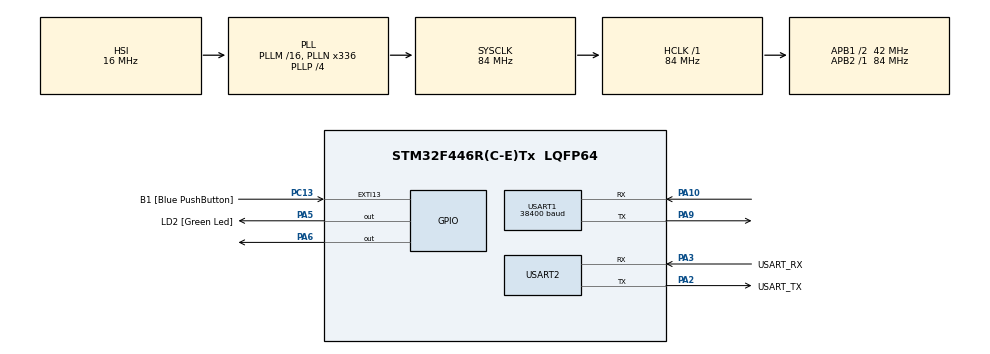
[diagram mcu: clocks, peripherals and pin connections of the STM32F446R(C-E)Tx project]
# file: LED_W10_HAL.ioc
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Mcu.Family=STM32F4
Mcu.Name=STM32F446R(C-E)Tx
Mcu.Package=LQFP64
NVIC.PriorityGroup=NVIC_PRIORITYGROUP_0
PA10.Mode=Asynchronous
PA10.Signal=USART1_RX
PA13.GPIO_Label=TMS
PA13.Mode=Serial_Wire
PA13.Signal=SYS_JTMS-SWDIO
PA14.GPIO_Label=TCK
PA14.Mode=Serial_Wire
PA14.Signal=SYS_JTCK-SWCLK
PA2.GPIO_Label=USART_TX
PA2.Mode=Asynchronous
PA2.Signal=USART2_TX
PA3.GPIO_Label=USART_RX
PA3.Mode=Asynchronous
PA3.Signal=USART2_RX
PA5.GPIO_Label=LD2 [Green Led]
PA5.Signal=GPIO_Output
PA6.Signal=GPIO_Output
PA9.Mode=Asynchronous
PA9.Signal=USART1_TX
PB3.GPIO_Label=SWO
PB3.Signal=SYS_JTDO-SWO
PC13.GPIO_Label=B1 [Blue PushButton]
PC13.GPIO_ModeDefaultEXTI=GPIO_MODE_IT_FALLING
PC13.Signal=GPXTI13
PC14-OSC32_IN.Mode=LSE-External-Oscillator
PC14-OSC32_IN.Signal=RCC_OSC32_IN
PC15-OSC32_OUT.Mode=LSE-External-Oscillator
PC15-OSC32_OUT.Signal=RCC_OSC32_OUT
PH0-OSC_IN.Mode=HSE-External-Oscillator
PH0-OSC_IN.Signal=RCC_OSC_IN
PH1-OSC_OUT.Mode=HSE-External-Oscillator
PH1-OSC_OUT.Signal=RCC_OSC_OUT
ProjectManager.HeapSize=0x200
ProjectManager.StackSize=0x400
ProjectManager.TargetToolchain=STM32CubeIDE
RCC.48MHZClocksFreq_Value=84000000
RCC.AHBFreq_Value=84000000
RCC.APB1CLKDivider=RCC_HCLK_DIV2
RCC.APB1Freq_Value=42000000
RCC.APB1TimFreq_Value=84000000
RCC.APB2Freq_Value=84000000
RCC.APB2TimFreq_Value=84000000
RCC.CortexFreq_Value=84000000
RCC.FLatency-AdvancedSettings=FLASH_LATENCY_2
RCC.HCLKFreq_Value=84000000
RCC.HSE_VALUE=8000000
RCC.HSI_VALUE=16000000
RCC.PLLN=336
RCC.PLLP=RCC_PLLP_DIV4
RCC.SYSCLKFreq_VALUE=84000000
RCC.SYSCLKSource=RCC_SYSCLKSOURCE_PLLCLK
RCC.USBFreq_Value=168000000
RCC.VCOOutputFreq_Value=336000000
USART1.BaudRate=38400
USART1.VirtualMode=VM_ASYNC
USART2.VirtualMode=VM_ASYNC
board=NUCLEO-F446RE

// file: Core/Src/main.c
/* USER CODE BEGIN Header */
/**
  ******************************************************************************
  * @file           : main.c
  * @brief          : Main program body
  ******************************************************************************
  * @attention
  *
  * Copyright (c) 2023 STMicroelectronics.
  * All rights reserved.
  *
  * This software is licensed under terms that can be found in the LICENSE file
  * in the root directory of this software component.
  * If no LICENSE file comes with this software, it is provided AS-IS.
  *
  ******************************************************************************
  */
/* USER CODE END Header */
#include "main.h"

/* USER CODE BEGIN Includes */
#include"stdio.h"
#include<string.h>
/* USER CODE END Includes */

UART_HandleTypeDef huart1;
UART_HandleTypeDef huart2;

void SystemClock_Config(void);
static void MX_GPIO_Init(void);
static void MX_USART1_UART_Init(void);
static void MX_USART2_UART_Init(void);
/* USER CODE BEGIN PFP */

void WE10_Init (char *, char *);
void MQTT_Init(void);
void mqtt_data_send(void);
/* USER CODE END PFP */

int main(void)
{

  /* MCU Configuration--------------------------------------------------------*/

  /* Reset of all peripherals, Initializes the Flash interface and the Systick. */
  HAL_Init();

  /* Configure the system clock */
  SystemClock_Config();

  /* Initialize all configured peripherals */
  MX_GPIO_Init();
  MX_USART1_UART_Init();
  MX_USART2_UART_Init();
  /* USER CODE BEGIN 2 */
  WE10_Init("Hero","hero1234");
  MQTT_Init();
  /* USER CODE END 2 */

  /* Infinite loop */
  /* USER CODE BEGIN WHILE */
  while (1)
  {
	 mqtt_data_send();
	 HAL_Delay(100);
    /* USER CODE END WHILE */

  }
}

void SystemClock_Config(void)
{
  RCC_OscInitTypeDef RCC_OscInitStruct = {0};
  RCC_ClkInitTypeDef RCC_ClkInitStruct = {0};

  /** Configure the main internal regulator output voltage
  */
  __HAL_RCC_PWR_CLK_ENABLE();
  __HAL_PWR_VOLTAGESCALING_CONFIG(PWR_REGULATOR_VOLTAGE_SCALE3);

  /** Initializes the RCC Oscillators according to the specified parameters
  * in the RCC_OscInitTypeDef structure.
  */
  RCC_OscInitStruct.OscillatorType = RCC_OSCILLATORTYPE_HSI;
  RCC_OscInitStruct.HSIState = RCC_HSI_ON;
  RCC_OscInitStruct.HSICalibrationValue = RCC_HSICALIBRATION_DEFAULT;
  RCC_OscInitStruct.PLL.PLLState = RCC_PLL_ON;
  RCC_OscInitStruct.PLL.PLLSource = RCC_PLLSOURCE_HSI;
  RCC_OscInitStruct.PLL.PLLM = 16;
  RCC_OscInitStruct.PLL.PLLN = 336;
  RCC_OscInitStruct.PLL.PLLP = RCC_PLLP_DIV4;
  RCC_OscInitStruct.PLL.PLLQ = 2;
  RCC_OscInitStruct.PLL.PLLR = 2;
  if (HAL_RCC_OscConfig(&RCC_OscInitStruct) != HAL_OK)
  {
    Error_Handler();
  }

  /** Initializes the CPU, AHB and APB buses clocks
  */
  RCC_ClkInitStruct.ClockType = RCC_CLOCKTYPE_HCLK|RCC_CLOCKTYPE_SYSCLK
                              |RCC_CLOCKTYPE_PCLK1|RCC_CLOCKTYPE_PCLK2;
  RCC_ClkInitStruct.SYSCLKSource = RCC_SYSCLKSOURCE_PLLCLK;
  RCC_ClkInitStruct.AHBCLKDivider = RCC_SYSCLK_DIV1;
  RCC_ClkInitStruct.APB1CLKDivider = RCC_HCLK_DIV2;
  RCC_ClkInitStruct.APB2CLKDivider = RCC_HCLK_DIV1;

  if (HAL_RCC_ClockConfig(&RCC_ClkInitStruct, FLASH_LATENCY_2) != HAL_OK)
  {
    Error_Handler();
  }
}

static void MX_USART1_UART_Init(void)
{

  huart1.Instance = USART1;
  huart1.Init.BaudRate = 38400;
  huart1.Init.WordLength = UART_WORDLENGTH_8B;
  huart1.Init.StopBits = UART_STOPBITS_1;
  huart1.Init.Parity = UART_PARITY_NONE;
  huart1.Init.Mode = UART_MODE_TX_RX;
  huart1.Init.HwFlowCtl = UART_HWCONTROL_NONE;
  huart1.Init.OverSampling = UART_OVERSAMPLING_16;
  if (HAL_UART_Init(&huart1) != HAL_OK)
  {
    Error_Handler();
  }

}

static void MX_USART2_UART_Init(void)
{

  huart2.Instance = USART2;
  huart2.Init.BaudRate = 115200;
  huart2.Init.WordLength = UART_WORDLENGTH_8B;
  huart2.Init.StopBits = UART_STOPBITS_1;
  huart2.Init.Parity = UART_PARITY_NONE;
  huart2.Init.Mode = UART_MODE_TX_RX;
  huart2.Init.HwFlowCtl = UART_HWCONTROL_NONE;
  huart2.Init.OverSampling = UART_OVERSAMPLING_16;
  if (HAL_UART_Init(&huart2) != HAL_OK)
  {
    Error_Handler();
  }

}

static void MX_GPIO_Init(void)
{
  GPIO_InitTypeDef GPIO_InitStruct = {0};

  /* GPIO Ports Clock Enable */
  __HAL_RCC_GPIOC_CLK_ENABLE();
  __HAL_RCC_GPIOH_CLK_ENABLE();
  __HAL_RCC_GPIOA_CLK_ENABLE();
  __HAL_RCC_GPIOB_CLK_ENABLE();

  /*Configure GPIO pin Output Level */
  HAL_GPIO_WritePin(GPIOA, LD2_Pin|GPIO_PIN_6, GPIO_PIN_RESET);

  /*Configure GPIO pin : B1_Pin */
  GPIO_InitStruct.Pin = B1_Pin;
  GPIO_InitStruct.Mode = GPIO_MODE_IT_FALLING;
  GPIO_InitStruct.Pull = GPIO_NOPULL;
  HAL_GPIO_Init(B1_GPIO_Port, &GPIO_InitStruct);

  /*Configure GPIO pins : LD2_Pin PA6 */
  GPIO_InitStruct.Pin = LD2_Pin|GPIO_PIN_6;
  GPIO_InitStruct.Mode = GPIO_MODE_OUTPUT_PP;
  GPIO_InitStruct.Pull = GPIO_NOPULL;
  GPIO_InitStruct.Speed = GPIO_SPEED_FREQ_LOW;
  HAL_GPIO_Init(GPIOA, &GPIO_InitStruct);

}

/* USER CODE BEGIN 4 */
void WE10_Init(char *SSID, char *PASSWD) {
    char buffer[128];
    HAL_StatusTypeDef status;

    // Function to send a command and print response
    void send_cmd(const char* cmd) {
        HAL_UART_Transmit(&huart1, (uint8_t*)cmd, strlen(cmd), 1000);
        HAL_UART_Transmit(&huart2, (uint8_t*)cmd, strlen(cmd), 1000);

        // Wait and receive response
        memset(buffer, 0, sizeof(buffer));
        status = HAL_UART_Receive(&huart1, (uint8_t*)buffer, sizeof(buffer) - 1, 2000);
        HAL_UART_Transmit(&huart2, (uint8_t*)buffer, strlen(buffer), 1000);

        // Print status if receive failed
        if (status != HAL_OK) {
            printf("Error receiving response for %s\n", cmd);
        } else {
            printf("Response for %s: %s\n", cmd, buffer);
        }
    }

    /********* CMD+RESET **********/
    send_cmd("CMD+RESET\r\n");
    HAL_Delay(5000); // Extended delay for reset

    /********* CMD+WIFIMODE=1 **********/
    send_cmd("CMD+WIFIMODE=1\r\n");
    HAL_Delay(2000);

    /********* CMD+CONTOAP=SSID,PASSWD **********/
    sprintf(buffer, "CMD+CONTOAP=%s,%s\r\n", SSID, PASSWD);
    send_cmd(buffer);
    HAL_Delay(5000); // Adding a delay to give module time to connect

    /********* CMD?WIFI **********/
    send_cmd("CMD?WIFI\r\n");
    HAL_Delay(2000);
}

void MQTT_Init(void) {
    char buffer[128];

    // Function to send a command and print response
    void send_cmd(const char* cmd) {
        HAL_StatusTypeDef status;

        // Transmit command
        HAL_UART_Transmit(&huart1, (uint8_t*)cmd, strlen(cmd), 1000);
        HAL_UART_Transmit(&huart2, (uint8_t*)cmd, strlen(cmd), 1000);

        // Receive response
        memset(buffer, 0, sizeof(buffer));
        status = HAL_UART_Receive(&huart1, (uint8_t*)buffer, sizeof(buffer) - 1, 2000);

        // Print debug info
        printf("Command: %s\n", cmd);
        if (status == HAL_OK) {
            printf("Response: %s\n", buffer);
        } else if (status == HAL_TIMEOUT) {
            printf("Response timeout for command: %s\n", cmd);
        } else {
            printf("Error receiving response for command: %s\n", cmd);
        }
    }

    /********* CMD+MQTTNETCFG **********/
    send_cmd("CMD+MQTTNETCFG=dev.rightech.io,1883\r\n");
    HAL_Delay(2000);

    /********* CMD+MQTTCONCFG **********/
    send_cmd("CMD+MQTTCONCFG=3,mqtt-korukondagirishkumar04-apn6w3,,,,,,,,,\r\n");
    HAL_Delay(2000);

    /********* CMD+MQTTSTART **********/
    send_cmd("CMD+MQTTSTART=1\r\n");
    HAL_Delay(5000); // Adding delay to ensure the MQTT connection is established

    /********* CMD+MQTTSUB **********/
    send_cmd("CMD+MQTTSUB=base/relay/led1\r\n");
    HAL_Delay(2000);
}

void mqtt_data_send(void) {
    char buffer[128];

    // Function to receive data
    void receive_data(void) {
        memset(buffer, 0, sizeof(buffer));
        HAL_StatusTypeDef status = HAL_UART_Receive(&huart1, (uint8_t*)buffer, sizeof(buffer) - 1, 2000);
        HAL_Delay(400);
        HAL_UART_Transmit(&huart2, (uint8_t*)buffer, strlen(buffer), 1000);

        // Print status if receive failed
        if (status != HAL_OK) {
            printf("Error receiving data\n");
        } else {
            printf("Received data: %s\n", buffer);
        }
    }

    receive_data();

    for (int i = 0; i < sizeof(buffer); i++) {
        if (buffer[i] == 'N') {
        	HAL_GPIO_WritePin(GPIOA, GPIO_PIN_5 | GPIO_PIN_6, GPIO_PIN_SET);
        } else if (buffer[i] == 'F') {
        	HAL_GPIO_WritePin(GPIOA, GPIO_PIN_5 | GPIO_PIN_6, GPIO_PIN_RESET);
        }
    }
}

/* USER CODE END 4 */

void Error_Handler(void)
{
  __disable_irq();
  while (1)
  {
  }
}
